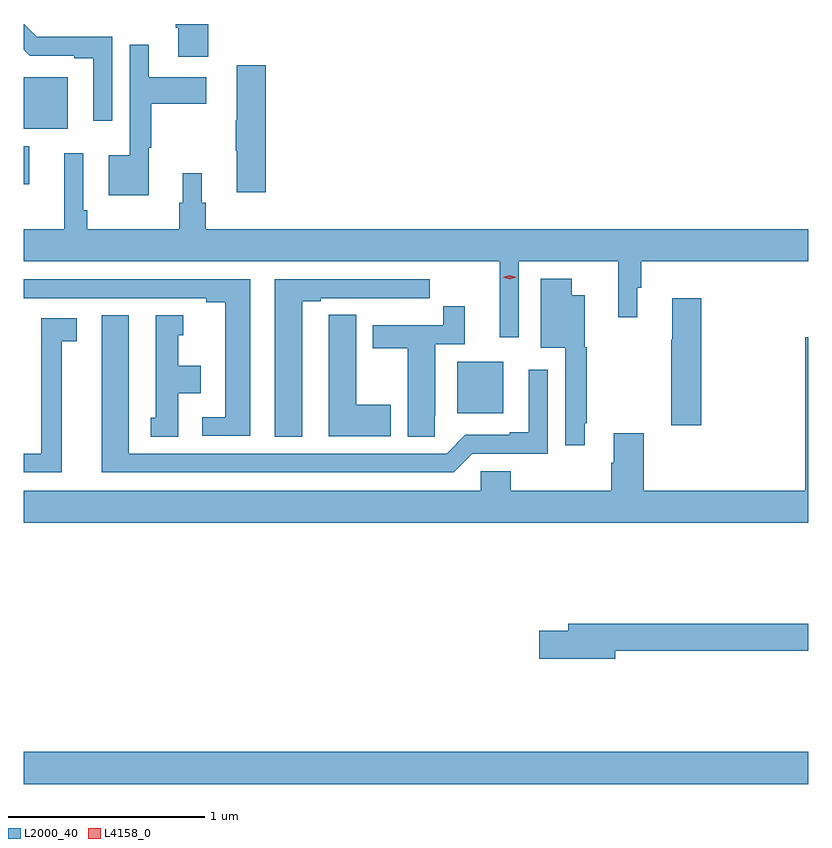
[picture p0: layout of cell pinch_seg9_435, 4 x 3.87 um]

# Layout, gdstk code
import gdstk
lib = gdstk.Library(unit=1e-6, precision=1e-09)
def R(c, l, rs):  # rectangles x0, y0, x1, y1
    for r in rs: c.add(gdstk.rectangle(r[:2], r[2:], *l))
def P(c, l, *ps):  # polygons
    for p in ps: c.add(gdstk.Polygon(p, *l))
L2000_40 = (2000, 40)
L4158_0 = (4158, 0)

pinch_seg9_435 = lib.new_cell('pinch_seg9_435')
R(pinch_seg9_435, L2000_40, [(219.763,1187.096,223.763,1187.26), (221.972,1188.986,222.208,1189.249), (219.763,1190.154,219.791,1190.346), (219.763,1190.435,219.988,1190.698)])
P(pinch_seg9_435, L2000_40, [(220.703,1190.97),(220.538,1190.97),(220.538,1190.95),(220.55,1190.95),(220.55,1190.802),(220.703,1190.802)],
  [(220.215,1190.904),(219.831,1190.904),(219.765,1190.97),(219.763,1190.97),(219.763,1190.84),(219.795,1190.808),(220.022,1190.808),(220.022,1190.796),(220.118,1190.796),(220.118,1190.478),(220.215,1190.478)],
  [(220.402,1190.34),(220.414,1190.34),(220.414,1190.564),(220.693,1190.564),(220.693,1190.698),(220.402,1190.698),(220.402,1190.863),(220.305,1190.863),(220.305,1190.302),(220.196,1190.302),(220.196,1190.096),(220.402,1190.096)],
  [(220.997,1190.761),(220.85,1190.761),(220.85,1190.48),(220.843,1190.48),(220.843,1190.324),(220.85,1190.324),(220.85,1190.112),(220.997,1190.112)],
  [(222.288,1189.76),(222.793,1189.76),(222.793,1189.476),(222.892,1189.476),(222.892,1189.626),(222.911,1189.626),(222.911,1189.76),(223.763,1189.76),(223.763,1189.924),(220.691,1189.924),(220.691,1190.058),(220.672,1190.058),(220.672,1190.209),(220.574,1190.209),(220.574,1190.058),(220.555,1190.058),(220.555,1189.924),(220.088,1189.924),(220.088,1190.02),(220.068,1190.02),(220.068,1190.311),(219.971,1190.311),(219.971,1189.924),(219.763,1189.924),(219.763,1189.76),(222.191,1189.76),(222.191,1189.374),(222.288,1189.374)],
  [(222.622,1188.934),(222.634,1188.934),(222.634,1189.323),(222.622,1189.323),(222.622,1189.588),(222.556,1189.588),(222.556,1189.672),(222.398,1189.672),(222.398,1189.319),(222.525,1189.319),(222.525,1188.822),(222.622,1188.822)],
  [(221.182,1189.557),(221.278,1189.557),(221.278,1189.572),(221.554,1189.572),(221.554,1189.571),(221.72,1189.571),(221.72,1189.572),(221.833,1189.572),(221.833,1189.668),(221.042,1189.668),(221.042,1188.865),(221.182,1188.865)],
  [(220.918,1189.668),(219.763,1189.668),(219.763,1189.572),(220.694,1189.572),(220.694,1189.552),(220.79,1189.552),(220.79,1188.966),(220.674,1188.966),(220.674,1188.87),(220.918,1188.87)],
  [(223.217,1189.573),(223.07,1189.573),(223.07,1189.36),(223.063,1189.36),(223.063,1188.924),(223.217,1188.924)],
  [(221.859,1188.976),(221.86,1188.976),(221.86,1189.338),(222.011,1189.338),(222.011,1189.531),(221.902,1189.531),(221.902,1189.434),(221.543,1189.434),(221.543,1189.318),(221.72,1189.318),(221.72,1188.865),(221.859,1188.865)],
  [(221.635,1189.029),(221.458,1189.029),(221.458,1189.487),(221.319,1189.487),(221.319,1189.379),(221.318,1189.379),(221.318,1188.869),(221.635,1188.869)],
  [(222.051,1188.78),(222.435,1188.78),(222.435,1189.207),(222.338,1189.207),(222.338,1188.889),(222.242,1188.889),(222.242,1188.876),(222.015,1188.876),(221.919,1188.78),(220.3,1188.78),(220.3,1189.486),(220.16,1189.486),(220.16,1188.684),(221.955,1188.684)],
  [(220.552,1189.088),(220.666,1189.088),(220.666,1189.228),(220.552,1189.228),(220.552,1189.383),(220.576,1189.383),(220.576,1189.486),(220.436,1189.486),(220.436,1188.963),(220.412,1188.963),(220.412,1188.865),(220.552,1188.865)],
  [(219.958,1189.354),(220.033,1189.354),(220.033,1189.47),(219.854,1189.47),(219.854,1188.78),(219.763,1188.78),(219.763,1188.684),(219.958,1188.684)],
  [(223.763,1189.372),(223.748,1189.372),(223.748,1188.592),(222.923,1188.592),(222.923,1188.883),(222.77,1188.883),(222.77,1188.734),(222.758,1188.734),(222.758,1188.592),(222.245,1188.592),(222.245,1188.69),(222.093,1188.69),(222.093,1188.592),(219.763,1188.592),(219.763,1188.428),(223.763,1188.428)],
  [(222.778,1187.776),(223.763,1187.776),(223.763,1187.912),(222.539,1187.912),(222.539,1187.876),(222.39,1187.876),(222.39,1187.734),(222.778,1187.734)])
P(pinch_seg9_435, L4158_0, [(222.24,1189.669),(222.206,1189.679),(222.206,1189.679),(222.206,1189.679),(222.24,1189.689),(222.275,1189.679),(222.275,1189.679),(222.275,1189.679)])

lib.write_gds('pinch_seg9_435.gds')
